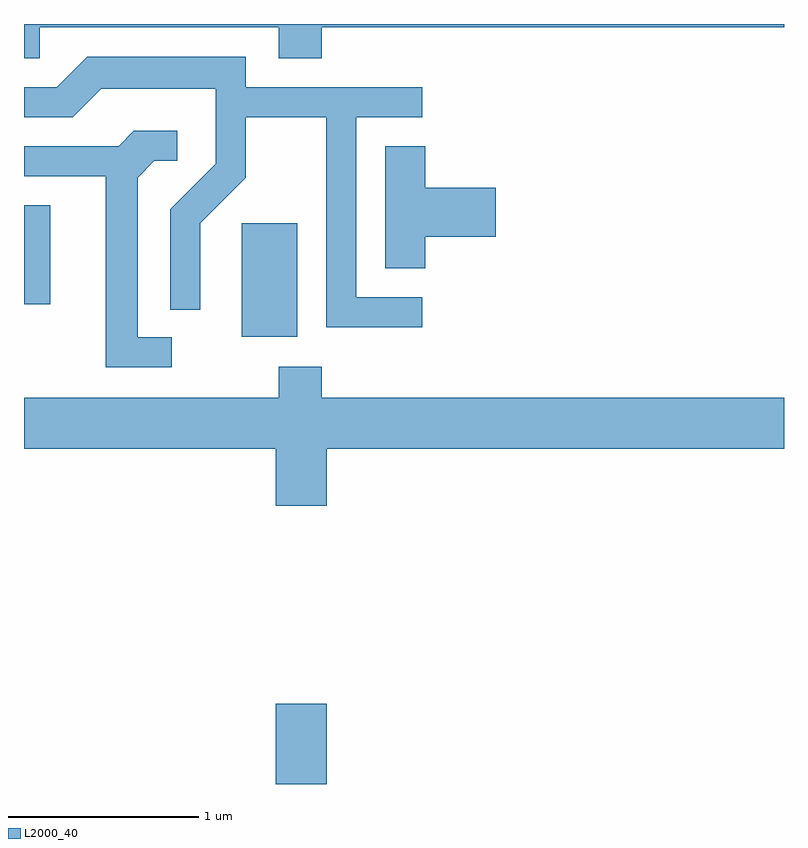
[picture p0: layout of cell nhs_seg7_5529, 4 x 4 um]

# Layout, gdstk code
import gdstk
lib = gdstk.Library(unit=1e-6, precision=1e-09)
def R(c, l, rs):  # rectangles x0, y0, x1, y1
    for r in rs: c.add(gdstk.rectangle(r[:2], r[2:], *l))
def P(c, l, *ps):  # polygons
    for p in ps: c.add(gdstk.Polygon(p, *l))
L2000_40 = (2000, 40)

nhs_seg7_5529 = lib.new_cell('nhs_seg7_5529')
R(nhs_seg7_5529, L2000_40, [(354.936,1790.252,355.204,1790.674), (354.756,1792.606,355.049,1793.204), (353.611,1792.776,353.749,1793.299)])
P(nhs_seg7_5529, L2000_40, [(353.694,1794.236),(354.951,1794.236),(354.951,1794.071),(355.179,1794.071),(355.179,1794.236),(357.611,1794.236),(357.611,1794.252),(353.611,1794.252),(353.611,1794.071),(353.694,1794.071)],
  [(355.708,1792.814),(355.359,1792.814),(355.359,1793.761),(355.708,1793.761),(355.708,1793.919),(354.779,1793.919),(354.779,1794.079),(353.944,1794.079),(353.784,1793.919),(353.611,1793.919),(353.611,1793.761),(353.867,1793.761),(354.017,1793.911),(354.621,1793.911),(354.621,1793.517),(354.381,1793.277),(354.381,1792.748),(354.539,1792.748),(354.539,1793.204),(354.779,1793.444),(354.779,1793.761),(355.201,1793.761),(355.201,1792.656),(355.708,1792.656)],
  [(354.388,1792.604),(354.209,1792.604),(354.209,1793.444),(354.297,1793.531),(354.418,1793.531),(354.418,1793.689),(354.189,1793.689),(354.109,1793.609),(353.611,1793.609),(353.611,1793.451),(354.041,1793.451),(354.041,1792.446),(354.388,1792.446)],
  [(355.724,1793.131),(356.094,1793.131),(356.094,1793.389),(355.724,1793.389),(355.724,1793.609),(355.511,1793.609),(355.511,1792.966),(355.724,1792.966)],
  [(355.204,1792.016),(357.611,1792.016),(357.611,1792.284),(355.179,1792.284),(355.179,1792.449),(354.951,1792.449),(354.951,1792.284),(353.611,1792.284),(353.611,1792.016),(354.936,1792.016),(354.936,1791.716),(355.204,1791.716)])

lib.write_gds('nhs_seg7_5529.gds')
